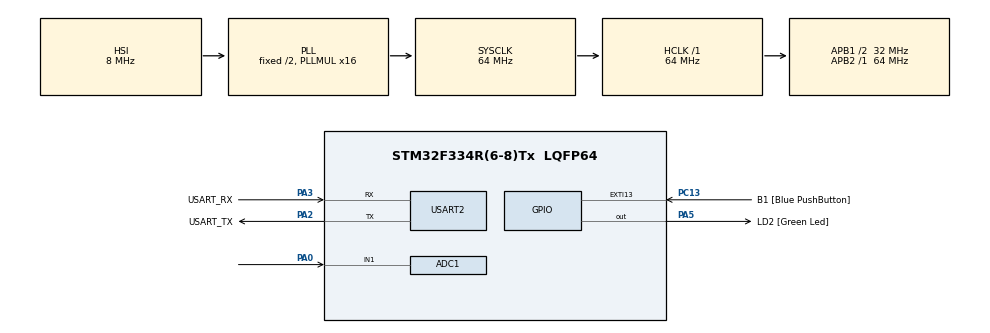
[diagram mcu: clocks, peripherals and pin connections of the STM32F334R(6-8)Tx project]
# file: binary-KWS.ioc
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ADC1.Channel-0\#ChannelRegularConversion=ADC_CHANNEL_1
ADC1.NbrOfConversionFlag=1
ADC1.Offset-0\#ChannelRegularConversion=0
ADC1.OffsetNumber-0\#ChannelRegularConversion=ADC_OFFSET_NONE
ADC1.Rank-0\#ChannelRegularConversion=1
ADC1.SamplingTime-0\#ChannelRegularConversion=ADC_SAMPLETIME_1CYCLE_5
ADC1.SamplingTimeOPAMP-0\#ChannelRegularConversion=ADC_SAMPLETIME_61CYCLES_5
ADC1.SubFamily=STM32F334x8
ADC1.master=1
Dma.ADC1.0.Direction=DMA_PERIPH_TO_MEMORY
Dma.ADC1.0.Instance=DMA1_Channel1
Dma.ADC1.0.MemDataAlignment=DMA_MDATAALIGN_HALFWORD
Dma.ADC1.0.MemInc=DMA_MINC_ENABLE
Dma.ADC1.0.Mode=DMA_CIRCULAR
Dma.ADC1.0.PeriphDataAlignment=DMA_PDATAALIGN_HALFWORD
Dma.ADC1.0.PeriphInc=DMA_PINC_DISABLE
Dma.ADC1.0.Priority=DMA_PRIORITY_LOW
Dma.Request0=ADC1
Mcu.Family=STM32F3
Mcu.Name=STM32F334R(6-8)Tx
Mcu.Package=LQFP64
NVIC.ADC1_2_IRQn=true\:0\:0\:false\:false\:true\:true\:true\:true
NVIC.DMA1_Channel1_IRQn=true\:0\:0\:false\:false\:true\:false\:true\:true
NVIC.PriorityGroup=NVIC_PRIORITYGROUP_0
PA0.Mode=IN1-Single-Ended
PA0.Signal=ADC1_IN1
PA13.GPIO_Label=TMS
PA13.Mode=Serial_Wire
PA13.Signal=SYS_JTMS-SWDIO
PA14.GPIO_Label=TCK
PA14.Mode=Serial_Wire
PA14.Signal=SYS_JTCK-SWCLK
PA2.GPIO_Label=USART_TX
PA2.Mode=Asynchronous
PA2.Signal=USART2_TX
PA3.GPIO_Label=USART_RX
PA3.Mode=Asynchronous
PA3.Signal=USART2_RX
PA5.GPIO_Label=LD2 [Green Led]
PA5.Signal=GPIO_Output
PB3.GPIO_Label=SWO
PB3.Signal=SYS_JTDO-TRACESWO
PC13.GPIO_Label=B1 [Blue PushButton]
PC13.GPIO_ModeDefaultEXTI=GPIO_MODE_IT_FALLING
PC13.Signal=GPXTI13
PC14\ /\ OSC32_IN.Mode=LSE-External-Oscillator
PC14\ /\ OSC32_IN.Signal=RCC_OSC32_IN
PC15\ /\ OSC32_OUT.GPIO_Label=RCC_OSC32_OUT
PC15\ /\ OSC32_OUT.Mode=LSE-External-Oscillator
PC15\ /\ OSC32_OUT.Signal=RCC_OSC32_OUT
PF0\ /\ OSC_IN.Mode=HSE-External-Clock-Source
PF0\ /\ OSC_IN.Signal=RCC_OSC_IN
PF1\ /\ OSC_OUT.Signal=RCC_OSC_OUT
ProjectManager.HeapSize=0x200
ProjectManager.StackSize=0x400
ProjectManager.TargetToolchain=CMake
RCC.AHBFreq_Value=64000000
RCC.APB1CLKDivider=RCC_HCLK_DIV2
RCC.APB1Freq_Value=32000000
RCC.APB1TimFreq_Value=64000000
RCC.APB2Freq_Value=64000000
RCC.APB2TimFreq_Value=64000000
RCC.CortexFreq_Value=64000000
RCC.FLatency-AdvancedSettings=FLASH_LATENCY_2
RCC.HCLKFreq_Value=64000000
RCC.HSE_VALUE=8000000
RCC.HSI_VALUE=8000000
RCC.PLLMUL=RCC_PLL_MUL16
RCC.SYSCLKFreq_VALUE=64000000
RCC.SYSCLKSourceVirtual=RCC_SYSCLKSOURCE_PLLCLK
USART2.VirtualMode-Asynchronous=VM_ASYNC
board=NUCLEO-F334R8

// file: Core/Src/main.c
/* USER CODE BEGIN Header */
/**
  ******************************************************************************
  * @file           : main.c
  * @brief          : Main program body
  ******************************************************************************
  * @attention
  *
  * Copyright (c) 2025 STMicroelectronics.
  * All rights reserved.
  *
  * This software is licensed under terms that can be found in the LICENSE file
  * in the root directory of this software component.
  * If no LICENSE file comes with this software, it is provided AS-IS.
  *
  ******************************************************************************
  */
/* USER CODE END Header */
#include "main.h"
#include "test_memory.h"

/* USER CODE BEGIN PD */

#define ADC_BUFFER_SIZE 1
uint32_t adcBuffer[ADC_BUFFER_SIZE];
volatile uint8_t dmaConversionComplete = 0;

/* USER CODE END PD */

ADC_HandleTypeDef hadc1;
DMA_HandleTypeDef hdma_adc1;

UART_HandleTypeDef huart2;

void SystemClock_Config(void);
static void MX_GPIO_Init(void);
static void MX_DMA_Init(void);
static void MX_USART2_UART_Init(void);
static void MX_ADC1_Init(void);

int main(void)
{

  /* MCU Configuration--------------------------------------------------------*/

  /* Reset of all peripherals, Initializes the Flash interface and the Systick. */
  HAL_Init();

  /* Configure the system clock */
  SystemClock_Config();

  /* Initialize all configured peripherals */
  MX_GPIO_Init();
  MX_DMA_Init();
  MX_USART2_UART_Init();
  MX_ADC1_Init();
  /* USER CODE BEGIN 2 */

  // Initialize ADC in DMA mode
  HAL_ADC_Start_DMA(&hadc1, adcBuffer, ADC_BUFFER_SIZE);
  test_memory_usage();

  /* USER CODE END 2 */

  /* Infinite loop */
  /* USER CODE BEGIN WHILE */
  while (1)
  {
    if (dmaConversionComplete)
    {
        dmaConversionComplete = 0;  // Reset the flag

        uint32_t value = adcBuffer[0];

        if (value > 200)
        {
            char buffer[20];
            uint16_t len = snprintf(buffer, sizeof(buffer), "V:%lu\r\n", value);
            HAL_UART_Transmit(&huart2, (uint8_t*)buffer, len, 100);
        }

        // Restart the connection
        HAL_ADC_Start_DMA(&hadc1, adcBuffer, ADC_BUFFER_SIZE);
    }

    // HAL_Delay(100);

    /* USER CODE END WHILE */

  }
}

void SystemClock_Config(void)
{
  RCC_OscInitTypeDef RCC_OscInitStruct = {0};
  RCC_ClkInitTypeDef RCC_ClkInitStruct = {0};
  RCC_PeriphCLKInitTypeDef PeriphClkInit = {0};

  /** Initializes the RCC Oscillators according to the specified parameters
  * in the RCC_OscInitTypeDef structure.
  */
  RCC_OscInitStruct.OscillatorType = RCC_OSCILLATORTYPE_HSI;
  RCC_OscInitStruct.HSIState = RCC_HSI_ON;
  RCC_OscInitStruct.HSICalibrationValue = RCC_HSICALIBRATION_DEFAULT;
  RCC_OscInitStruct.PLL.PLLState = RCC_PLL_ON;
  RCC_OscInitStruct.PLL.PLLSource = RCC_PLLSOURCE_HSI;
  RCC_OscInitStruct.PLL.PLLMUL = RCC_PLL_MUL16;
  if (HAL_RCC_OscConfig(&RCC_OscInitStruct) != HAL_OK)
  {
    Error_Handler();
  }

  /** Initializes the CPU, AHB and APB buses clocks
  */
  RCC_ClkInitStruct.ClockType = RCC_CLOCKTYPE_HCLK|RCC_CLOCKTYPE_SYSCLK
                              |RCC_CLOCKTYPE_PCLK1|RCC_CLOCKTYPE_PCLK2;
  RCC_ClkInitStruct.SYSCLKSource = RCC_SYSCLKSOURCE_PLLCLK;
  RCC_ClkInitStruct.AHBCLKDivider = RCC_SYSCLK_DIV1;
  RCC_ClkInitStruct.APB1CLKDivider = RCC_HCLK_DIV2;
  RCC_ClkInitStruct.APB2CLKDivider = RCC_HCLK_DIV1;

  if (HAL_RCC_ClockConfig(&RCC_ClkInitStruct, FLASH_LATENCY_2) != HAL_OK)
  {
    Error_Handler();
  }
  PeriphClkInit.PeriphClockSelection = RCC_PERIPHCLK_ADC12;
  PeriphClkInit.Adc12ClockSelection = RCC_ADC12PLLCLK_DIV1;
  if (HAL_RCCEx_PeriphCLKConfig(&PeriphClkInit) != HAL_OK)
  {
    Error_Handler();
  }
}

static void MX_ADC1_Init(void)
{

  ADC_MultiModeTypeDef multimode = {0};
  ADC_ChannelConfTypeDef sConfig = {0};

  /** Common config
  */
  hadc1.Instance = ADC1;
  hadc1.Init.ClockPrescaler = ADC_CLOCK_ASYNC_DIV1;
  hadc1.Init.Resolution = ADC_RESOLUTION_12B;
  hadc1.Init.ScanConvMode = ADC_SCAN_DISABLE;
  hadc1.Init.ContinuousConvMode = DISABLE;
  hadc1.Init.DiscontinuousConvMode = DISABLE;
  hadc1.Init.ExternalTrigConvEdge = ADC_EXTERNALTRIGCONVEDGE_NONE;
  hadc1.Init.ExternalTrigConv = ADC_SOFTWARE_START;
  hadc1.Init.DataAlign = ADC_DATAALIGN_RIGHT;
  hadc1.Init.NbrOfConversion = 1;
  hadc1.Init.DMAContinuousRequests = DISABLE;
  hadc1.Init.EOCSelection = ADC_EOC_SINGLE_CONV;
  hadc1.Init.LowPowerAutoWait = DISABLE;
  hadc1.Init.Overrun = ADC_OVR_DATA_OVERWRITTEN;
  if (HAL_ADC_Init(&hadc1) != HAL_OK)
  {
    Error_Handler();
  }

  /** Configure the ADC multi-mode
  */
  multimode.Mode = ADC_MODE_INDEPENDENT;
  if (HAL_ADCEx_MultiModeConfigChannel(&hadc1, &multimode) != HAL_OK)
  {
    Error_Handler();
  }

  /** Configure Regular Channel
  */
  sConfig.Channel = ADC_CHANNEL_1;
  sConfig.Rank = ADC_REGULAR_RANK_1;
  sConfig.SingleDiff = ADC_SINGLE_ENDED;
  sConfig.SamplingTime = ADC_SAMPLETIME_1CYCLE_5;
  sConfig.OffsetNumber = ADC_OFFSET_NONE;
  sConfig.Offset = 0;
  if (HAL_ADC_ConfigChannel(&hadc1, &sConfig) != HAL_OK)
  {
    Error_Handler();
  }

}

static void MX_USART2_UART_Init(void)
{

  huart2.Instance = USART2;
  huart2.Init.BaudRate = 250000;
  huart2.Init.WordLength = UART_WORDLENGTH_8B;
  huart2.Init.StopBits = UART_STOPBITS_1;
  huart2.Init.Parity = UART_PARITY_NONE;
  huart2.Init.Mode = UART_MODE_TX_RX;
  huart2.Init.HwFlowCtl = UART_HWCONTROL_NONE;
  huart2.Init.OverSampling = UART_OVERSAMPLING_16;
  huart2.Init.OneBitSampling = UART_ONE_BIT_SAMPLE_DISABLE;
  huart2.AdvancedInit.AdvFeatureInit = UART_ADVFEATURE_NO_INIT;
  if (HAL_UART_Init(&huart2) != HAL_OK)
  {
    Error_Handler();
  }

}

static void MX_DMA_Init(void)
{

  /* DMA controller clock enable */
  __HAL_RCC_DMA1_CLK_ENABLE();

  /* DMA interrupt init */
  /* DMA1_Channel1_IRQn interrupt configuration */
  HAL_NVIC_SetPriority(DMA1_Channel1_IRQn, 0, 0);
  HAL_NVIC_EnableIRQ(DMA1_Channel1_IRQn);

}

static void MX_GPIO_Init(void)
{
  GPIO_InitTypeDef GPIO_InitStruct = {0};

  /* GPIO Ports Clock Enable */
  __HAL_RCC_GPIOC_CLK_ENABLE();
  __HAL_RCC_GPIOF_CLK_ENABLE();
  __HAL_RCC_GPIOA_CLK_ENABLE();
  __HAL_RCC_GPIOB_CLK_ENABLE();

  /*Configure GPIO pin Output Level */
  HAL_GPIO_WritePin(LD2_GPIO_Port, LD2_Pin, GPIO_PIN_RESET);

  /*Configure GPIO pin : B1_Pin */
  GPIO_InitStruct.Pin = B1_Pin;
  GPIO_InitStruct.Mode = GPIO_MODE_IT_FALLING;
  GPIO_InitStruct.Pull = GPIO_NOPULL;
  HAL_GPIO_Init(B1_GPIO_Port, &GPIO_InitStruct);

  /*Configure GPIO pin : LD2_Pin */
  GPIO_InitStruct.Pin = LD2_Pin;
  GPIO_InitStruct.Mode = GPIO_MODE_OUTPUT_PP;
  GPIO_InitStruct.Pull = GPIO_NOPULL;
  GPIO_InitStruct.Speed = GPIO_SPEED_FREQ_LOW;
  HAL_GPIO_Init(LD2_GPIO_Port, &GPIO_InitStruct);

}

/* USER CODE BEGIN 4 */

void HAL_ADC_ConvCpltCallback(ADC_HandleTypeDef* hadc)
{
  if (hadc->Instance == ADC1)
  {
    dmaConversionComplete = 1;
  }
}

/* USER CODE END 4 */

void Error_Handler(void)
{
  __disable_irq();
  while (1)
  {
  }
}
